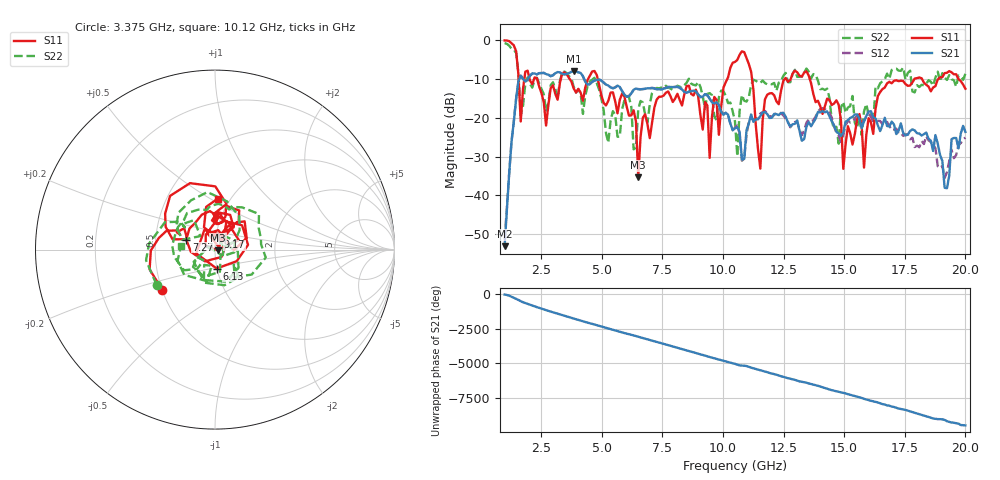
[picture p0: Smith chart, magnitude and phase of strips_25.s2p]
!Agilent Technologies,N5230A,MY45001629,A.07.50.67
!Agilent N5230A: A.07.50.67
!Date: Monday, June 05, 2017 16:35:16
!Correction: S11(Full 2 Port(1,2))
!S21(Full 2 Port(1,2))
!S12(Full 2 Port(1,2))
!S22(Full 2 Port(1,2))
!S2P File: Measurements: S11, S21, S12, S22:
# Hz S  dB  R 50
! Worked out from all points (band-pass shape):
!   201 points, 1 GHz to 20 GHz, reference 50 ohm
!   highest |S21| = -8.12 dB at 3.85 GHz (marker M1); lowest = -53.0 dB at 1 GHz (marker M2)
!   |S21| within 3 dB of the highest: 1.561 GHz to 4.366 GHz (2.805 GHz wide, 94.7 % of centre); 4.566 GHz to 5.102 GHz (535.8 MHz wide, 11.1 % of centre)
!   lowest |S11| = -35.4 dB at 6.51 GHz (marker M3), VSWR 1.03, Z = 51.7 - j0.422 ohm
!   |S11| at or under -10 dB: 4.835 GHz to 10.19 GHz (5.354 GHz wide, 71.3 % of centre); 11.2 GHz to 12.57 GHz (1.369 GHz wide, 11.5 % of centre); 13.58 GHz to 17.91 GHz (4.331 GHz wide, 27.5 % of centre)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
!   |S22| runs from -29.9 to -0.9 dB; largest |S21 - S12| = 0.045
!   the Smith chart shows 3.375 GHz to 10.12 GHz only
!   S11 on the Smith chart (normalised r, x): 3.375 GHz: 0.50, -0.26; 6.13 GHz: 1.00, -0.21; 7.27 GHz: 0.72, +0.08; 9.17 GHz: 1.02, +0.14; 10.12 GHz: 0.88, +0.54
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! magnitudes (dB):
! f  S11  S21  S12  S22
! 1 GHz  -0.2  -53.0  -51.3  -0.9
! 1.57 GHz  -9.0  -10.7  -10.7  -8.7
! 2.71 GHz  -22.1  -8.8  -8.8  -18.4
! 3.375 GHz  -8.6  -8.8  -8.8  -8.4
! 3.85 GHz  -12.6  -8.1  -8.1  -12.1
! 4.23 GHz  -15.7  -9.4  -9.4  -19.1
! 6.13 GHz  -19.5  -14.5  -14.5  -14.8
! 6.51 GHz  -35.4  -12.8  -12.7  -17.9
! 7.27 GHz  -15.4  -12.7  -12.7  -12.4
! 7.365 GHz  -14.7  -12.8  -12.9  -12.5
! 9.17 GHz  -23.1  -14.6  -14.7  -14.5
! 10.12 GHz  -10.9  -18.8  -18.8  -14.4
! 10.5 GHz  -5.7  -22.8  -22.6  -21.0
! 11.16 GHz  -8.2  -19.2  -20.2  -11.5
! 11.54 GHz  -33.1  -19.6  -19.0  -11.1
! 11.83 GHz  -14.1  -19.1  -19.0  -11.5
! 13.73 GHz  -14.0  -21.2  -20.7  -8.9
! 14.78 GHz  -16.7  -24.1  -24.7  -26.7
! 15.82 GHz  -32.9  -21.0  -20.9  -18.4
! 16.86 GHz  -10.8  -22.3  -22.1  -10.1
! 19.24 GHz  -8.5  -38.2  -34.0  -10.3
! 20 GHz  -12.6  -23.7  -25.1  -8.8
